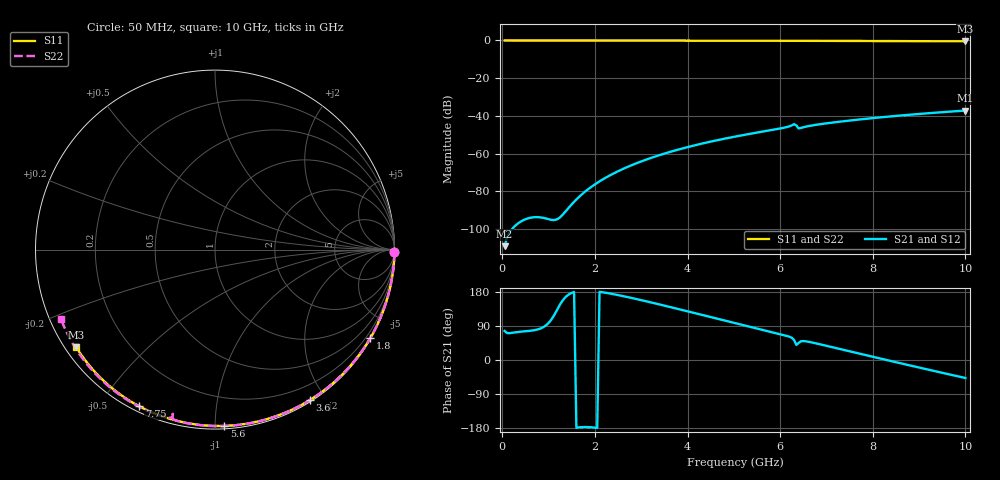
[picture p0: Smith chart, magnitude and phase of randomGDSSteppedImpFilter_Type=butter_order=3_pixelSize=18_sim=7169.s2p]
! freq	dB(S11)	phase(S11)	dB(S12)	phase(S12)
!  dB(S21)	phase(S21)	dB(S22)	phase(S22)
!S-par simulation data
#  GHz  S  DB  R 50
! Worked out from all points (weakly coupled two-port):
!   200 points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, 50 MHz to 10 GHz, reference 50 ohm
!   highest |S21| = -37.18 dB at 10 GHz (marker M1); lowest = -109.1 dB at 50 MHz (marker M2)
!   lowest |S11| = -0.5 dB at 10 GHz (marker M3), VSWR 35.25, Z = 1.56 - j15.8 ohm
!   |S11| at or under -10 dB: nowhere
!   |S22| runs from -0.5 to 0.0 dB; largest |S21 - S12| = 0
!   S11 on the Smith chart (normalised r, x): 50 MHz: open; 1.8 GHz: 0.03, -3.77; 3.6 GHz: 0.02, -1.81; 5.6 GHz: 0.02, -1.05; 7.75 GHz: 0.02, -0.63; 10 GHz: 0.03, -0.32
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0.05  -0.00 -0.8  -109.09 76.5  -109.09 76.5  -0.00 -0.9
0.9  -0.02 -15.0  -94.14 87.7  -94.14 87.7  -0.02 -16.2
1.75  -0.04 -28.9  -80.94 -176.9  -80.94 -176.9  -0.04 -31.2
1.8  -0.04 -29.7  -79.92 -176.9  -79.92 -176.9  -0.04 -32.0
2.1  -0.04 -34.5  -74.71 179.9  -74.71 179.9  -0.05 -37.2
2.5  -0.05 -40.9  -69.35 171.3  -69.35 171.3  -0.06 -44.1
2.9  -0.06 -47.1  -65.09 160.8  -65.09 160.8  -0.07 -50.8
3.4  -0.07 -54.9  -60.76 146.4  -60.76 146.4  -0.08 -59.1
3.6  -0.08 -57.9  -59.26 140.5  -59.26 140.5  -0.08 -62.4
4.3  -0.10 -68.4  -54.76 119.4  -54.76 119.4  -0.10 -73.6
5.05  -0.12 -79.2  -50.87 96.6  -50.87 96.6  -0.13 -85.2
5.6  -0.14 -86.9  -48.42 80.0  -48.42 80.0  -0.15 -93.6
6.1  -0.17 -93.8  -46.19 64.9  -46.19 64.9  -0.19 -101.2
6.2  -0.17 -95.2  -45.54 61.4  -45.54 61.4  -0.21 -102.9
6.3  -0.18 -96.6  -44.38 53.0  -44.38 53.0  -0.33 -104.8
6.35  -0.18 -97.2  -45.07 39.9  -45.07 39.9  -0.50 -104.4
6.4  -0.18 -97.9  -46.67 45.1  -46.67 45.1  -0.32 -104.3
6.7  -0.20 -101.9  -45.02 45.9  -45.02 45.9  -0.22 -109.3
7.75  -0.27 -115.7  -41.80 15.7  -41.80 15.7  -0.29 -124.3
8.35  -0.32 -123.5  -40.35 -1.5  -40.35 -1.5  -0.34 -132.7
9.2  -0.40 -134.4  -38.58 -25.5  -38.58 -25.5  -0.43 -144.6
10  -0.49 -144.8  -37.18 -47.5  -37.18 -47.5  -0.53 -155.8
